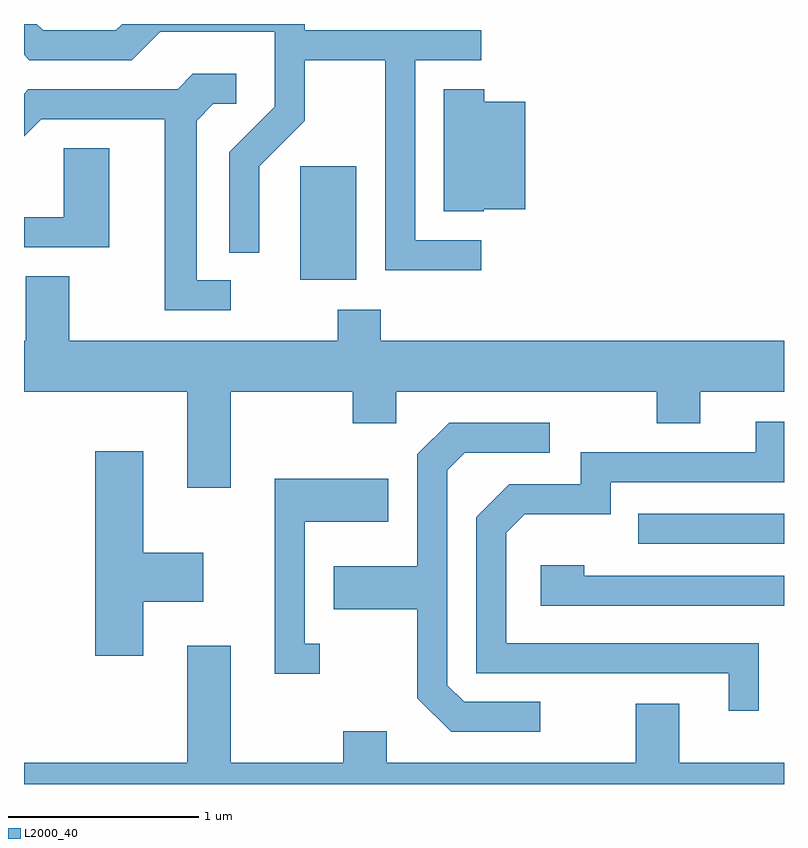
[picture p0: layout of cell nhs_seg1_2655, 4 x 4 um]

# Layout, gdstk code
import gdstk
lib = gdstk.Library(unit=1e-6, precision=1e-09)
def R(c, l, rs):  # rectangles x0, y0, x1, y1
    for r in rs: c.add(gdstk.rectangle(r[:2], r[2:], *l))
def P(c, l, *ps):  # polygons
    for p in ps: c.add(gdstk.Polygon(p, *l))
L2000_40 = (2000, 40)

nhs_seg1_2655 = lib.new_cell('nhs_seg1_2655')
R(nhs_seg1_2655, L2000_40, [(268.843,920.976,269.611,921.134), (267.066,922.366,267.359,922.964)])
P(nhs_seg1_2655, L2000_40, [(268.018,922.574),(267.669,922.574),(267.669,923.521),(268.018,923.521),(268.018,923.679),(267.089,923.679),(267.089,923.712),(266.127,923.712),(266.094,923.679),(265.712,923.679),(265.679,923.712),(265.611,923.712),(265.611,923.549),(265.639,923.521),(266.177,923.521),(266.327,923.671),(266.931,923.671),(266.931,923.277),(266.691,923.037),(266.691,922.508),(266.849,922.508),(266.849,922.964),(267.089,923.204),(267.089,923.521),(267.511,923.521),(267.511,922.416),(268.018,922.416)],
  [(266.698,922.364),(266.519,922.364),(266.519,923.204),(266.607,923.291),(266.728,923.291),(266.728,923.449),(266.499,923.449),(266.419,923.369),(265.634,923.369),(265.611,923.346),(265.611,923.121),(265.702,923.211),(266.351,923.211),(266.351,922.206),(266.698,922.206)],
  [(268.03,922.736),(268.249,922.736),(268.249,923.304),(268.034,923.304),(268.034,923.369),(267.821,923.369),(267.821,922.726),(268.03,922.726)],
  [(266.059,923.059),(265.821,923.059),(265.821,922.694),(265.611,922.694),(265.611,922.536),(266.059,922.536)],
  [(267.341,921.611),(267.569,921.611),(267.569,921.776),(268.941,921.776),(268.941,921.611),(269.169,921.611),(269.169,921.776),(269.611,921.776),(269.611,922.044),(267.489,922.044),(267.489,922.209),(267.261,922.209),(267.261,922.044),(265.849,922.044),(265.849,922.384),(265.621,922.384),(265.621,922.044),(265.611,922.044),(265.611,921.776),(266.471,921.776),(266.471,921.271),(266.699,921.271),(266.699,921.776),(267.341,921.776)],
  [(269.479,920.454),(268.149,920.454),(268.149,921.034),(268.247,921.131),(268.699,921.131),(268.699,921.301),(269.611,921.301),(269.611,921.619),(269.461,921.619),(269.461,921.459),(268.541,921.459),(268.541,921.289),(268.164,921.289),(267.991,921.117),(267.991,920.296),(269.321,920.296),(269.321,920.098),(269.479,920.098)],
  [(268.328,920.144),(267.927,920.144),(267.839,920.232),(267.839,921.364),(267.932,921.456),(268.378,921.456),(268.378,921.614),(267.849,921.614),(267.681,921.447),(267.681,920.859),(267.241,920.859),(267.241,920.631),(267.681,920.631),(267.681,920.164),(267.859,919.986),(268.328,919.986)],
  [(266.239,920.671),(266.554,920.671),(266.554,920.929),(266.239,920.929),(266.239,921.464),(265.986,921.464),(265.986,920.386),(266.239,920.386)],
  [(267.168,920.449),(267.089,920.449),(267.089,921.091),(267.529,921.091),(267.529,921.319),(266.931,921.319),(266.931,920.291),(267.168,920.291)],
  [(269.611,920.809),(268.559,920.809),(268.559,920.864),(268.331,920.864),(268.331,920.651),(269.611,920.651)],
  [(269.611,919.824),(269.059,919.824),(269.059,920.134),(268.831,920.134),(268.831,919.824),(267.519,919.824),(267.519,919.989),(267.291,919.989),(267.291,919.824),(266.699,919.824),(266.699,920.439),(266.471,920.439),(266.471,919.824),(265.611,919.824),(265.611,919.712),(269.611,919.712)])

lib.write_gds('nhs_seg1_2655.gds')
